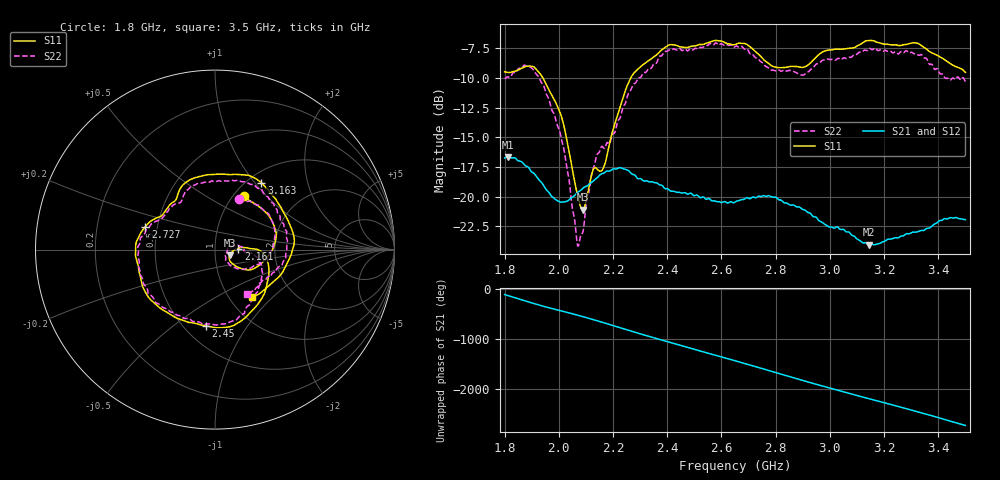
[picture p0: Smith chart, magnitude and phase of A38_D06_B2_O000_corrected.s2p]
! Created with skrf 1.9.0 (http://scikit-rf.org).
# Hz S RI R 50.0
!freq ReS11 ImS11 ReS21 ImS21 ReS12 ImS12 ReS22 ImS22
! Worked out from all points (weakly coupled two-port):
!   1601 points, 1.8 GHz to 3.5 GHz, reference 50 ohm
!   highest |S21| = -16.67 dB at 1.812 GHz (marker M1); lowest = -24.1 dB at 3.144 GHz (marker M2)
!   lowest |S11| = -21.1 dB at 2.089 GHz (marker M3), VSWR 1.19, Z = 58.8 - j3.84 ohm
!   |S11| at or under -10 dB: 1.942 GHz to 2.265 GHz (323.5 MHz wide, 15.4 % of centre)
!   |S22| runs from -24.2 to -7.0 dB; largest |S21 - S12| = 0.0025
!   S11 on the Smith chart (normalised r, x): 1.8 GHz: 1.12, +0.75; 2.161 GHz: 1.30, +0.02; 2.45 GHz: 0.64, -0.66; 2.727 GHz: 0.43, +0.13; 3.163 GHz: 1.15, +1.08; 3.5 GHz: 1.28, -0.75
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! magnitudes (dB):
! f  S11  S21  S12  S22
! 1.8 GHz  -9.5  -16.7  -16.7  -10.0
! 1.812 GHz  -9.5  -16.7  -16.7  -9.9
! 1.881 GHz  -9.0  -17.5  -17.4  -9.0
! 1.942 GHz  -10.0  -19.0  -19.0  -10.6
! 2.011 GHz  -13.4  -20.5  -20.5  -15.3
! 2.067 GHz  -19.7  -19.7  -19.7  -23.8
! 2.084 GHz  -21.0  -19.4  -19.4  -23.1
! 2.089 GHz  -21.1  -19.3  -19.3  -23.0
! 2.127 GHz  -17.7  -18.7  -18.7  -17.6
! 2.161 GHz  -17.7  -18.1  -18.0  -15.8
! 2.261 GHz  -10.2  -17.9  -17.9  -11.1
! 2.367 GHz  -7.9  -18.9  -18.9  -8.3
! 2.45 GHz  -7.4  -19.7  -19.7  -7.6
! 2.65 GHz  -7.2  -20.5  -20.4  -7.4
! 2.727 GHz  -7.8  -20.1  -20.1  -8.3
! 2.804 GHz  -9.1  -20.1  -20.2  -9.4
! 2.934 GHz  -8.6  -21.6  -21.5  -9.2
! 3.144 GHz  -6.8  -24.1  -24.0  -7.5
! 3.163 GHz  -6.9  -24.1  -24.0  -7.5
! 3.217 GHz  -7.2  -23.6  -23.6  -7.7
! 3.324 GHz  -7.1  -23.0  -22.9  -8.0
! 3.5 GHz  -9.5  -21.9  -21.9  -10.3
